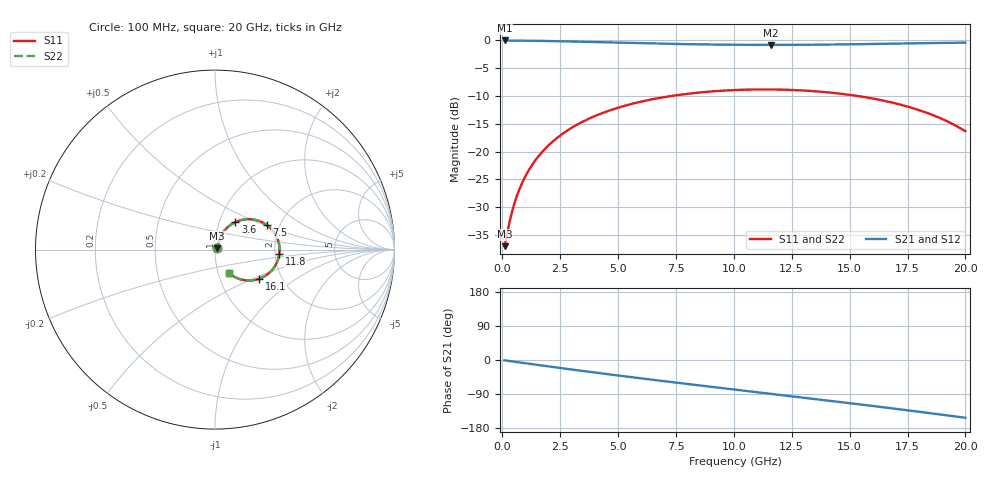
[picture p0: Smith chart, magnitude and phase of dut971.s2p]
! Touchstone file exported from HFSS 2026.1.0
!  File:  C:/ffzhzh/LocalFiles/Ansys_Project_Files/temp_train_TSV_RDL_971_1783285772_38704.aedt
!  Generated:  05:19:48 AM Jul  6, 2026
!  Design:  TSV_RDL
!  Project:  temp_train_TSV_RDL_971_1783285772_38704
! Variables:
!  h_bsmrdl = 5.24um
!  h_ox = 20um
!  h_rdl = 5um
!  h_sub = 74.7um
!  h_tmrdl = 5.44um
!  h_tsv = 74.7um
!  h_via = 3um
!  l_bsmrdl = 414.53um
!  l_sub = 2500.96um
!  l_tmrdl = 194.97um
!  m_sub = 200um
!  pitch = 27.53um
!  r_tsv = 6.9um
!  s_tmrdl = 10um
!  w_bsmrdl = 11.77um
!  w_sub = 500um
!  w_tmrdl = 14.06um
!  x_tsv_center1 = 202um
!  x_tsv_center2 = 628.3um
!  x_tsv_center3 = 837.33um
!  x_tsv_center4 = 1263.63um
!  x_tsv_center5 = 1472.66um
!  x_tsv_center6 = 1898.96um
# GHz S MA R 50.000000
! Terminal data exported
! Port[1] = TM_RDL1_1_T1
! Port[2] = TM_RDL5_1_T1
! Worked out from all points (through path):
!   200 points, 100 MHz to 20 GHz, reference 50 ohm
!   highest |S21| = -0.11 dB at 100 MHz (marker M1); lowest = -0.9 dB at 11.6 GHz (marker M2)
!   group delay of S21, straight-line fit = 20.7 ps
!   lowest |S11| = -36.9 dB at 100 MHz (marker M3), VSWR 1.03, Z = 51.3 + j0.639 ohm
!   |S11| at or under -10 dB: start of sweep to 7.386 GHz; 15.26 GHz to end of sweep
!   |S22| runs from -36.9 to -8.9 dB; largest |S21 - S12| = 1.4e-12
!   S11 on the Smith chart (normalised r, x): 100 MHz: 1.03, +0.01; 3.6 GHz: 1.19, +0.38; 7.5 GHz: 1.71, +0.52; 11.8 GHz: 2.11, -0.11; 16.1 GHz: 1.54, -0.55; 20 GHz: 1.13, -0.30
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0.1  0.01422 26.0  0.9873 -0.9  0.9873 -0.9  0.01422 26.0
! Gamma 0 0 0 0
! Port Impedance 50 0 50 0
0.3  0.02285 51.1  0.9864 -2.6  0.9864 -2.6  0.02285 51.1
0.6  0.03839 62.9  0.9851 -5.2  0.9851 -5.2  0.03839 62.9
0.9  0.0547 66.3  0.9836 -7.7  0.9836 -7.7  0.0547 66.3
1.2  0.07112 67.0  0.9818 -10.2  0.9818 -10.2  0.07112 67.0
1.7  0.09806 65.6  0.9782 -14.4  0.9782 -14.4  0.09806 65.6
2.2  0.1241 62.9  0.9739 -18.6  0.9739 -18.6  0.1241 62.9
2.8  0.1539 59.0  0.968 -23.5  0.968 -23.5  0.1539 59.0
3.5  0.1864 54.2  0.9605 -29.1  0.9605 -29.1  0.1864 54.1
3.6  0.1908 53.4  0.9594 -29.9  0.9594 -29.9  0.1908 53.4
5  0.2468 43.4  0.9435 -40.9  0.9435 -40.9  0.2468 43.3
6.8  0.3022 30.5  0.9247 -54.5  0.9247 -54.5  0.3022 30.5
7.5  0.3187 25.6  0.9185 -59.7  0.9185 -59.7  0.3187 25.6
10.1  0.3556 7.8  0.9034 -78.5  0.9034 -78.5  0.3556 7.7
11.6  0.3596 -2.4  0.901 -89.2  0.901 -89.2  0.3596 -2.4
11.8  0.3592 -3.8  0.9011 -90.6  0.9011 -90.6  0.3592 -3.8
13.4  0.3477 -14.7  0.9042 -102.1  0.9042 -102.1  0.3477 -14.7
14.8  0.3258 -24.3  0.9106 -112.3  0.9106 -112.3  0.3258 -24.3
16.1  0.2956 -33.2  0.9187 -122.0  0.9187 -122.0  0.2956 -33.3
16.7  0.2785 -37.4  0.9229 -126.6  0.9229 -126.6  0.2785 -37.4
18.5  0.2158 -49.8  0.9357 -140.5  0.9357 -140.5  0.2158 -49.8
20  0.152 -59.3  0.9446 -152.4  0.9446 -152.4  0.152 -59.4
